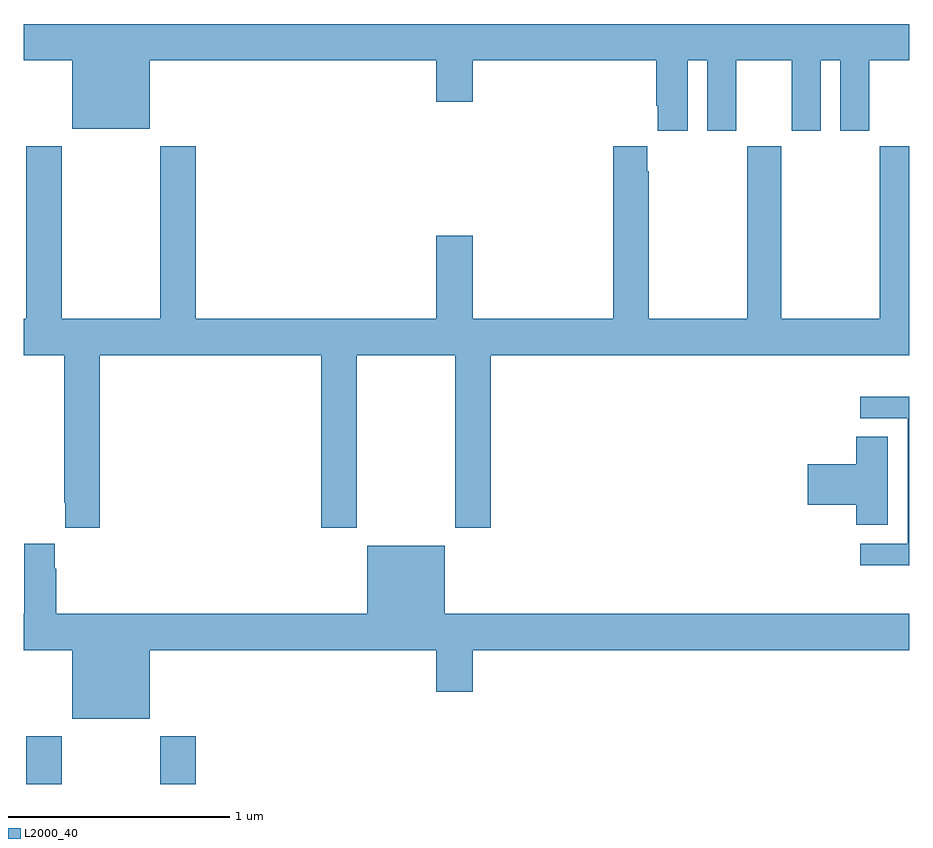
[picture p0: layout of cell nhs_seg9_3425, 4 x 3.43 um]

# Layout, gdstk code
import gdstk
lib = gdstk.Library(unit=1e-6, precision=1e-09)
def R(c, l, rs):  # rectangles x0, y0, x1, y1
    for r in rs: c.add(gdstk.rectangle(r[:2], r[2:], *l))
def P(c, l, *ps):  # polygons
    for p in ps: c.add(gdstk.Polygon(p, *l))
L2000_40 = (2000, 40)

nhs_seg9_3425 = lib.new_cell('nhs_seg9_3425')
R(nhs_seg9_3425, L2000_40, [(307.013,1178.5,307.173,1178.716), (307.618,1178.5,307.778,1178.716)])
P(nhs_seg9_3425, L2000_40, [(307,1181.768),(307.22,1181.768),(307.22,1181.459),(307.57,1181.459),(307.57,1181.768),(308.864,1181.768),(308.864,1181.58),(309.028,1181.58),(309.028,1181.768),(309.857,1181.768),(309.857,1181.563),(309.863,1181.563),(309.863,1181.451),(310,1181.451),(310,1181.768),(310.088,1181.768),(310.088,1181.451),(310.219,1181.451),(310.219,1181.768),(310.469,1181.768),(310.469,1181.451),(310.6,1181.451),(310.6,1181.768),(310.688,1181.768),(310.688,1181.451),(310.819,1181.451),(310.819,1181.768),(311,1181.768),(311,1181.932),(307,1181.932)],
  [(307.778,1181.38),(307.618,1181.38),(307.618,1180.6),(307.173,1180.6),(307.173,1181.38),(307.013,1181.38),(307.013,1180.6),(307,1180.6),(307,1180.436),(307.183,1180.436),(307.183,1179.769),(307.187,1179.769),(307.187,1179.657),(307.343,1179.657),(307.343,1180.436),(308.345,1180.436),(308.345,1179.657),(308.505,1179.657),(308.505,1180.436),(308.95,1180.436),(308.95,1179.657),(309.11,1179.657),(309.11,1180.436),(311,1180.436),(311,1181.38),(310.867,1181.38),(310.867,1180.6),(310.422,1180.6),(310.422,1181.38),(310.267,1181.38),(310.267,1180.6),(309.822,1180.6),(309.822,1181.267),(309.817,1181.267),(309.817,1181.38),(309.662,1181.38),(309.662,1180.6),(309.028,1180.6),(309.028,1180.975),(308.864,1180.975),(308.864,1180.6),(307.778,1180.6)],
  [(311,1180.248),(310.779,1180.248),(310.779,1180.152),(310.992,1180.152),(310.992,1179.585),(310.779,1179.585),(310.779,1179.487),(311,1179.487)],
  [(310.903,1180.067),(310.76,1180.067),(310.76,1179.944),(310.542,1179.944),(310.542,1179.761),(310.76,1179.761),(310.76,1179.67),(310.903,1179.67)],
  [(307.57,1179.104),(308.864,1179.104),(308.864,1178.916),(309.028,1178.916),(309.028,1179.104),(311,1179.104),(311,1179.268),(308.902,1179.268),(308.902,1179.577),(308.552,1179.577),(308.552,1179.268),(307.148,1179.268),(307.148,1179.473),(307.141,1179.473),(307.141,1179.586),(307.004,1179.586),(307.004,1179.268),(307,1179.268),(307,1179.104),(307.22,1179.104),(307.22,1178.795),(307.57,1178.795)])

lib.write_gds('nhs_seg9_3425.gds')
